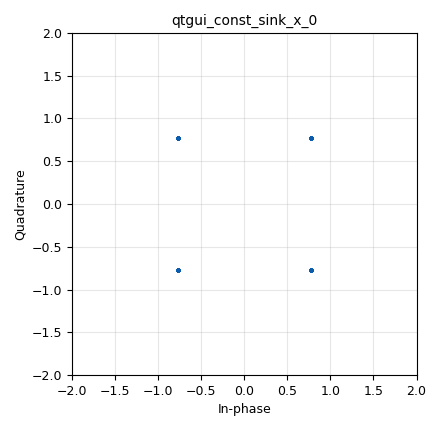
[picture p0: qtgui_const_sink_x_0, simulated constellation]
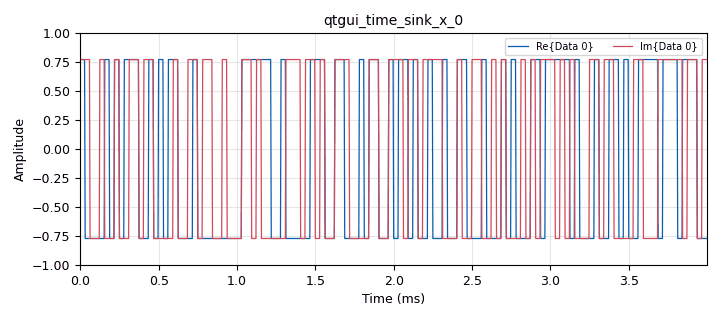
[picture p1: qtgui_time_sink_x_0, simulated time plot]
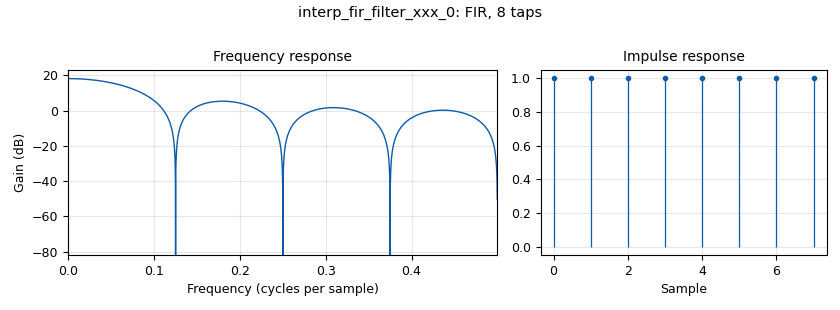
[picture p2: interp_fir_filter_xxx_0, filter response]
options:
  parameters:
    author: kilig
    generate_options: qt_gui
    id: practica4QPSK
    output_language: python
    title: Not titled yet
  states: {}

blocks:
- name: M
  id: variable
  parameters:
    value: len(tabla_de_verdad_constelacion)
  states: {}
- name: Rb
  id: variable
  parameters:
    value: Rs*bps
  states: {}
- name: Rs
  id: variable
  parameters:
    value: '32000'
  states: {}
- name: Sps
  id: variable
  parameters:
    value: '8'
  states: {}
- name: bps
  id: variable
  parameters:
    value: int(math.log(M,2))
  states: {}
- name: h
  id: variable
  parameters:
    value: '[1]*Sps'
  states: {}
- name: samp_rate
  id: variable
  parameters:
    value: Rs*Sps
  states: {}
- name: tabla_de_verdad_constelacion
  id: variable
  parameters:
    value: (0.77+0.77j,-0.77+0.77j,-0.77-0.77j,0.77-0.77j)
  states: {}
- name: analog_random_source_x_0
  id: analog_random_source_x
  parameters:
    max: '2'
    min: '0'
    num_samps: '1000'
    repeat: 'True'
    type: byte
  states: {}
- name: blocks_pack_k_bits_bb_0
  id: blocks_pack_k_bits_bb
  parameters:
    k: '8'
  states: {}
- name: blocks_packed_to_unpacked_xx_0
  id: blocks_packed_to_unpacked_xx
  parameters:
    bits_per_chunk: bps
    endianness: gr.GR_MSB_FIRST
    type: byte
  states: {}
- name: digital_chunks_to_symbols_xx_0
  id: digital_chunks_to_symbols_xx
  parameters:
    dimension: '1'
    in_type: byte
    out_type: complex
    symbol_table: tabla_de_verdad_constelacion
  states: {}
- name: import_0
  id: import
  parameters:
    imports: import math
  states: {}
- name: interp_fir_filter_xxx_0
  id: interp_fir_filter_xxx
  parameters:
    interp: Sps
    taps: h
    type: ccc
  states: {}
- name: qtgui_const_sink_x_0
  id: qtgui_const_sink_x
  parameters:
    size: '1024'
    type: complex
  states: {}
- name: qtgui_time_sink_x_0
  id: qtgui_time_sink_x
  parameters:
    size: '1024'
    srate: samp_rate
    type: complex
  states: {}

connections:
- [analog_random_source_x_0, '0', blocks_pack_k_bits_bb_0, '0']
- [blocks_pack_k_bits_bb_0, '0', blocks_packed_to_unpacked_xx_0, '0']
- [blocks_packed_to_unpacked_xx_0, '0', digital_chunks_to_symbols_xx_0, '0']
- [digital_chunks_to_symbols_xx_0, '0', interp_fir_filter_xxx_0, '0']
- [interp_fir_filter_xxx_0, '0', qtgui_const_sink_x_0, '0']
- [interp_fir_filter_xxx_0, '0', qtgui_time_sink_x_0, '0']

metadata:
  file_format: 1
  grc_version: 3.10.10.0
